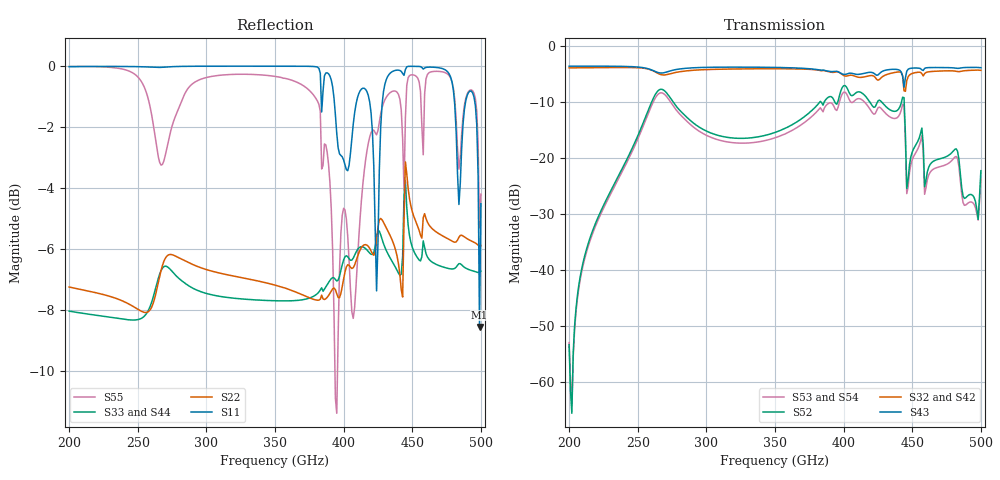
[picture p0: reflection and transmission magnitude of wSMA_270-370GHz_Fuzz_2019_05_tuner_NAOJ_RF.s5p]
! Touchstone file exported from HFSS 2019.1.0
!  File:  D:/pgrimes/HFSS/Mixers/270-370GHz_wSMA_Fuzz_2019_05_tuner.aedt
!  Generated:  4:09:22 PM  Jun 19, 2019
!  Design:  270-370GHz
!  Project:  270-370GHz_wSMA_Fuzz_2019_05_tuner
!  Setup:  SetupRF
!  Solution:  Sweep
! Variables:
!  Area = 1.13097335529233
!  BackshortLength = 0.225mm
!  CPWGap = 4um
!  CPWLength = 1.5um
!  CPWWidth = 10um
!  CPWlineEndgap = 1.5um
!  CPWlineSidegap = 1.5um
!  CPWlineWidth = 6.5um
!  CPWlinelength = 6um
!  Cap = 0fF
!  CenterGap = 1.5um
!  ChipHeight = 0.082mm
!  ChipLength = 2.7105mm
!  ChipSlotDepth = 0.082mm
!  ChipSlotExtDepth = 0.1238mm
!  ChipSlotExtLen = 0.9375mm
!  ChipSlotExtLength = 0.6375mm
!  ChipSlotExtWidth = 0.25mm
!  ChipSlotFrontDepth = 0.082mm
!  ChipSlotFrontLength = 1.35525mm
!  ChipSlotFrontWidth = 0.25mm
!  ChipSlotLength = 2.7105mm
!  ChipSlotWidth = 0.34mm
!  ChipWidth = 0.33mm
!  FeedExtLength = 0um
!  FeedExtWidth = 10um
!  FeedLength = 63um
!  FeedWidth = 3.5um
!  GroundThick = 0.15um
!  InputLength = 270um
!  JunctionSize = 1.2um
!  Line1Length = 5.25um
!  Line2Length = 6um
!  PadWidth = 4.5um
!  Rj = 13.2629119243246ohm
!  Rn = 13.2629119243246ohm
!  RnA = 15ohm
!  Scap = 0fF
!  Sect3var = 2.25um
!  SiOlength = 150um
!  SiOstart = 50um
!  SiOthick = 0.35um
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# GHZ S DB R 50.000000
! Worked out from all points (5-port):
!   301 points, 200 GHz to 500 GHz, reference 50 ohm
!   strongest paths, dB at 200 GHz, 275 GHz, 350 GHz, 425 GHz, 500 GHz:
!     S43: -3.6, -4.4, -3.8, -5.2, -3.9
!     S32: -3.9, -4.9, -4.1, -6.1, -4.4
!     S42: -3.9, -4.9, -4.1, -6.2, -4.5
!     S52: -53.4, -9.7, -15.4, -9.8, -22.3
!     S53: -53.0, -10.4, -16.4, -11.1, -23.8
!     S54: -52.6, -10.4, -16.4, -11.1, -24.0
!   lowest |S11| = -8.6 dB at 499 GHz (marker M1), VSWR 2.19, Z = 71.3 - j43.1 ohm
!   |S11| at or under -10 dB: nowhere
